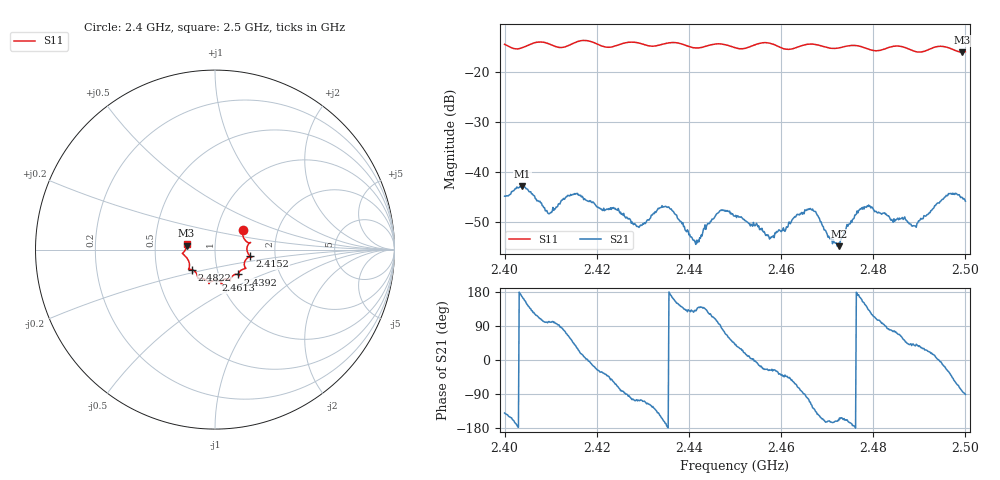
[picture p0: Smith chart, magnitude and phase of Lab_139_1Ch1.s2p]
# Hz S RI R 50
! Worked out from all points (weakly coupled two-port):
!   601 points, 2.4 GHz to 2.5 GHz, reference 50 ohm
!   highest |S21| = -42.82 dB at 2.4038 GHz (marker M1); lowest = -54.8 dB at 2.4727 GHz (marker M2)
!   lowest |S11| = -15.9 dB at 2.4993 GHz (marker M3), VSWR 1.38, Z = 36.3 + j1.59 ohm
!   |S11| at or under -10 dB: start of sweep to end of sweep
!   S12 and S22 are empty: the file has one direction only
!   S11 on the Smith chart (normalised r, x): 2.4 GHz: 1.33, +0.31; 2.4152 GHz: 1.48, -0.11; 2.4392 GHz: 1.24, -0.35; 2.4613 GHz: 0.96, -0.34; 2.4822 GHz: 0.76, -0.17; 2.5 GHz: 0.73, +0.05
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2.4e9  0.1558 0.1113  -0.00441 -0.00372  0 0  0 0
2.403833e9  0.1699 0.0503  -0.00702 0.00171  0 0  0 0
2.409667e9  0.1901 0.0352  -0.000769 0.00376  0 0  0 0
2.415167e9  0.1951 -0.0366  0.00465 0.00399  0 0  0 0
2.416667e9  0.2043 -0.0425  0.00545 0.00159  0 0  0 0
2.429e9  0.1677 -0.1055  -0.000782 -0.00275  0 0  0 0
2.433333e9  0.1323 -0.1323  -0.00329 -0.00285  0 0  0 0
2.439167e9  0.1273 -0.1382  -0.00184 0.00191  0 0  0 0
2.441667e9  0.1023 -0.1433  -0.00141 0.00153  0 0  0 0
2.4465e9  0.0856 -0.174  -0.000342 0.00396  0 0  0 0
2.45e9  0.0686 -0.1635  0.00276 0.00236  0 0  0 0
2.457667e9  0.0395 -0.1919  0.00199 -0.00101  0 0  0 0
2.461333e9  0.0072 -0.1704  0.00206 -0.00192  0 0  0 0
2.466667e9  -0.0332 -0.1898  -0.00204 -0.00366  0 0  0 0
2.472667e9  -0.0734 -0.1608  -0.00162 -0.000828  0 0  0 0
2.477333e9  -0.0962 -0.1547  -0.00408 0.00133  0 0  0 0
2.482167e9  -0.1284 -0.1117  -0.000314 0.00388  0 0  0 0
2.483333e9  -0.1395 -0.1102  0.000477 0.00364  0 0  0 0
2.488833e9  -0.1423 -0.0814  0.00225 0.00185  0 0  0 0
2.496333e9  -0.1764 -0.016  0.00528 -0.00309  0 0  0 0
2.499333e9  -0.1584 0.0213  0.00073 -0.00554  0 0  0 0
2.5e9  -0.1579 0.0334  -6.24e-05 -0.00514  0 0  0 0
